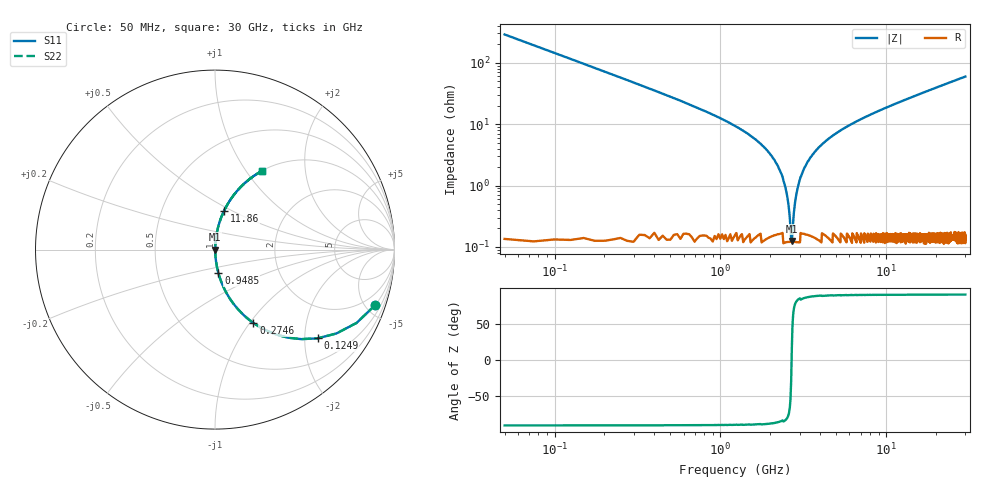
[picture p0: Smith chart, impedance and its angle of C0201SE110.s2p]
!	AVX Thin Film Operation 	Date: April 2014
!	Description: Accu-P® Series, Thin Film  SMD RF Capacitor
!	Part Number: 0201YK110FBSTR
# MHZ S MA R 50
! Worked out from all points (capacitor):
!   1201 points, 50 MHz to 30 GHz, reference 50 ohm
!   read as one part in series: C = 11 pF near 199.8 MHz
!   lowest |Z| = 126 mohm at 2.696 GHz (marker M1)
!   series resonance near 2.687 GHz, so ESL is about 320 pH
!   S11 on the Smith chart (normalised r, x): 50 MHz: 1.00, -5.79; 124.9 MHz: 1.00, -2.31; 274.6 MHz: 1.00, -1.04; 948.5 MHz: 1.00, -0.27; 11.86 GHz: 1.00, +0.45; 30 GHz: 1.00, +1.19
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50  0.945 -19.1  0.327 70.9  0.327 70.9  0.945 -19.1
124.875  0.756 -40.8  0.654 49.1  0.654 49.1  0.756 -40.8
274.625  0.462 -62.3  0.886 27.5  0.886 27.5  0.462 -62.3
499.25  0.269 -74.1  0.962 15.6  0.962 15.6  0.269 -74.1
948.5  0.132 -81.8  0.99 7.6  0.99 7.6  0.132 -81.8
2121.542  0.026 -85.4  0.998 1.5  0.998 1.5  0.026 -85.4
2371.125  0.014 -83.2  0.998 0.8  0.998 0.8  0.014 -83.2
2595.75  0.003987 -69.0  0.999 0.2  0.999 0.2  0.003987 -69.0
2695.583  0.001456 13.2  0.999 -0.0  0.999 -0.0  0.001456 13.2
2795.417  0.004474 71.3  0.999 -0.2  0.999 -0.2  0.004474 71.3
2920.208  0.009061 80.5  0.999 -0.5  0.999 -0.5  0.009061 80.5
3020.042  0.013 82.8  0.999 -0.7  0.999 -0.7  0.013 82.8
3344.5  0.024 85.2  0.998 -1.4  0.998 -1.4  0.024 85.2
4018.375  0.044 85.6  0.998 -2.5  0.998 -2.5  0.044 85.6
5041.667  0.072 84.7  0.996 -4.1  0.996 -4.1  0.072 84.7
6988.417  0.118 82.5  0.992 -6.8  0.992 -6.8  0.118 82.5
10058.29  0.184 79.0  0.982 -10.6  0.982 -10.6  0.184 79.0
11855.29  0.22 77.0  0.974 -12.7  0.974 -12.7  0.22 77.0
15025  0.279 73.5  0.959 -16.2  0.959 -16.2  0.279 73.5
20016.67  0.366 68.3  0.929 -21.5  0.929 -21.5  0.366 68.3
25033.29  0.444 63.5  0.895 -26.3  0.895 -26.3  0.444 63.5
30000  0.512 59.1  0.858 -30.8  0.858 -30.8  0.512 59.1
